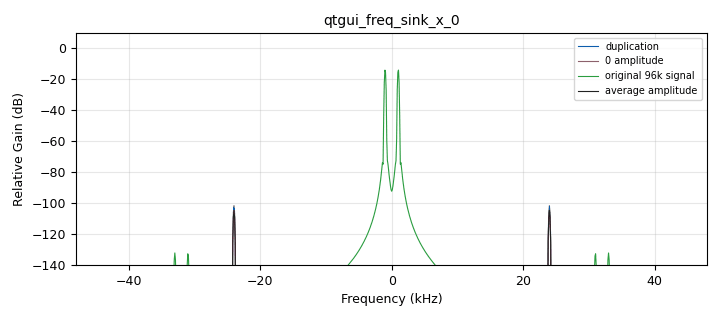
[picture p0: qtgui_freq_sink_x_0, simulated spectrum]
options:
  parameters:
    generate_options: qt_gui
    id: gkokol
    output_language: python
    title: Not titled yet
  states: {}

blocks:
- name: cos_freq_range
  id: variable_qtgui_range
  parameters:
    orient: Qt.Horizontal
    start: '0'
    step: '1'
    stop: 24e3
    value: 1e3
  states: {}
- name: input_samp_rate
  id: variable
  parameters:
    value: '48000'
  states: {}
- name: output_samp_rate
  id: variable
  parameters:
    value: '96000'
  states: {}
- name: analog_const_source_x_0
  id: analog_const_source_x
  parameters:
    const: '2'
    type: float
  states: {}
- name: analog_sig_source_x_0
  id: analog_sig_source_x
  parameters:
    amp: '1'
    freq: cos_freq_range
    offset: '0'
    phase: '0'
    samp_rate: input_samp_rate
    type: float
    waveform: analog.GR_COS_WAVE
  states: {}
- name: analog_sig_source_x_0_0
  id: analog_sig_source_x
  parameters:
    amp: '1'
    freq: cos_freq_range
    offset: '0'
    phase: '0'
    samp_rate: input_samp_rate
    type: float
    waveform: analog.GR_COS_WAVE
  states: {}
- name: analog_sig_source_x_0_0_0
  id: analog_sig_source_x
  parameters:
    amp: '0'
    freq: cos_freq_range
    offset: '0'
    phase: '0'
    samp_rate: input_samp_rate
    type: float
    waveform: analog.GR_COS_WAVE
  states: {}
- name: analog_sig_source_x_0_0_0_0
  id: analog_sig_source_x
  parameters:
    amp: '0'
    freq: cos_freq_range
    offset: '0'
    phase: '0'
    samp_rate: input_samp_rate
    type: float
    waveform: analog.GR_COS_WAVE
  states: {}
- name: analog_sig_source_x_0_1
  id: analog_sig_source_x
  parameters:
    amp: '1'
    freq: cos_freq_range
    offset: '0'
    phase: '0'
    samp_rate: input_samp_rate*2
    type: float
    waveform: analog.GR_COS_WAVE
  states: {}
- name: blocks_add_xx_0
  id: blocks_add_xx
  parameters:
    type: float
  states: {}
- name: blocks_delay_0
  id: blocks_delay
  parameters:
    delay: '1'
    type: float
  states: {}
- name: blocks_divide_xx_0
  id: blocks_divide_xx
  parameters:
    type: float
  states: {}
- name: blocks_interleave_0
  id: blocks_interleave
  parameters:
    type: float
  states: {}
- name: blocks_interleave_0_0
  id: blocks_interleave
  parameters:
    type: float
  states: {}
- name: blocks_interleave_0_1
  id: blocks_interleave
  parameters:
    type: float
  states: {}
- name: blocks_throttle_0
  id: blocks_throttle
  parameters:
    samples_per_second: output_samp_rate
    type: float
  states: {}
- name: low_pass_filter_0
  id: low_pass_filter
  parameters:
    cutoff_freq: 24e3
    decim: '1'
    gain: '1'
    samp_rate: output_samp_rate
    type: fir_filter_fff
    width: '1'
    win: firdes.WIN_HAMMING
  states: {}
- name: low_pass_filter_0_0
  id: low_pass_filter
  parameters:
    cutoff_freq: 24e3
    decim: '1'
    gain: '1'
    samp_rate: output_samp_rate
    type: fir_filter_fff
    width: '1'
    win: firdes.WIN_HAMMING
  states: {}
- name: low_pass_filter_0_0_0
  id: low_pass_filter
  parameters:
    cutoff_freq: 24e3
    decim: '1'
    gain: '1'
    samp_rate: output_samp_rate
    type: fir_filter_fff
    width: '1'
    win: firdes.WIN_HAMMING
  states: {}
- name: qtgui_freq_sink_x_0
  id: qtgui_freq_sink_x
  parameters:
    average: '0.1'
    bw: output_samp_rate
    fc: '0'
    fftsize: '1024'
    label1: '''duplication'''
    label2: '''0 amplitude'''
    label3: '''original 96k signal'''
    label4: '''average amplitude'''
    nconnections: '4'
    type: float
    wintype: firdes.WIN_BLACKMAN
  states: {}

connections:
- [analog_const_source_x_0, '0', blocks_divide_xx_0, '1']
- [analog_sig_source_x_0, '0', blocks_interleave_0, '0']
- [analog_sig_source_x_0_0, '0', blocks_interleave_0, '1']
- [analog_sig_source_x_0_0, '0', blocks_interleave_0_0, '0']
- [analog_sig_source_x_0_0, '0', blocks_interleave_0_1, '0']
- [analog_sig_source_x_0_0_0, '0', blocks_interleave_0_0, '1']
- [analog_sig_source_x_0_0_0_0, '0', blocks_add_xx_0, '0']
- [analog_sig_source_x_0_0_0_0, '0', blocks_delay_0, '0']
- [analog_sig_source_x_0_1, '0', qtgui_freq_sink_x_0, '2']
- [blocks_add_xx_0, '0', blocks_divide_xx_0, '0']
- [blocks_delay_0, '0', blocks_add_xx_0, '1']
- [blocks_divide_xx_0, '0', blocks_interleave_0_1, '1']
- [blocks_interleave_0, '0', blocks_throttle_0, '0']
- [blocks_interleave_0_0, '0', low_pass_filter_0_0_0, '0']
- [blocks_interleave_0_1, '0', low_pass_filter_0_0, '0']
- [blocks_throttle_0, '0', low_pass_filter_0, '0']
- [low_pass_filter_0, '0', qtgui_freq_sink_x_0, '0']
- [low_pass_filter_0_0, '0', qtgui_freq_sink_x_0, '3']
- [low_pass_filter_0_0_0, '0', qtgui_freq_sink_x_0, '1']

metadata:
  file_format: 1
